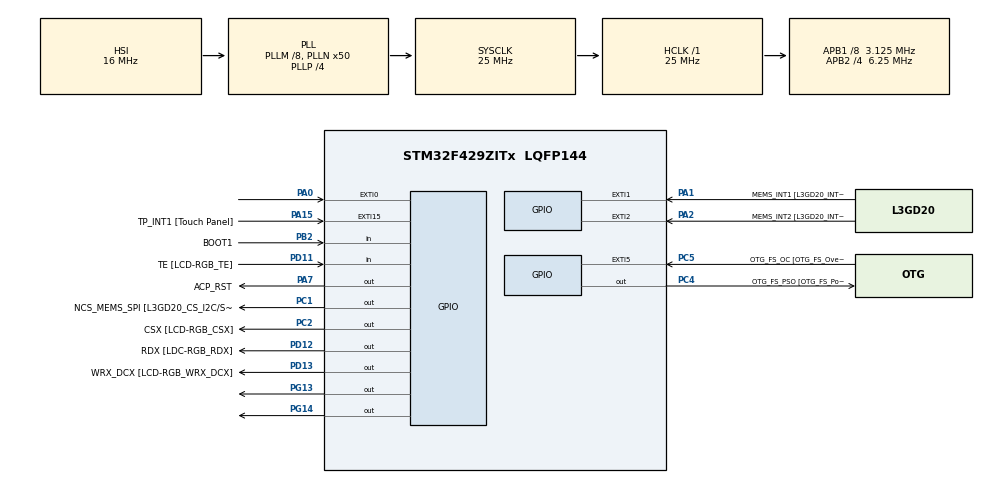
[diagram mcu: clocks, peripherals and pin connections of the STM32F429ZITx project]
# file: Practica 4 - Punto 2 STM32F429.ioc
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Mcu.Family=STM32F4
Mcu.Name=STM32F429ZITx
Mcu.Package=LQFP144
NVIC.PriorityGroup=NVIC_PRIORITYGROUP_0
PA0/WKUP.GPIO_ModeDefaultEXTI=GPIO_MODE_EVT_RISING
PA0/WKUP.GPIO_PuPd=GPIO_NOPULL
PA0/WKUP.Signal=GPXTI0
PA1.GPIO_Label=MEMS_INT1 [L3GD20_INT1]
PA1.GPIO_ModeDefaultEXTI=GPIO_MODE_EVT_RISING
PA1.GPIO_PuPd=GPIO_NOPULL
PA1.Signal=GPXTI1
PA10.GPIO_Label=STLINK_TX [STM32F103CBT6_PA2]
PA10.Signal=USART1_RX
PA11.GPIO_Label=R4
PA11.GPIO_Mode=GPIO_MODE_AF_PP
PA11.GPIO_PuPd=GPIO_NOPULL
PA11.GPIO_Speed=GPIO_SPEED_FREQ_LOW
PA11.Signal=LTDC_R4
PA12.GPIO_Label=R5
PA12.GPIO_Mode=GPIO_MODE_AF_PP
PA12.GPIO_PuPd=GPIO_NOPULL
PA12.GPIO_Speed=GPIO_SPEED_FREQ_LOW
PA12.Signal=LTDC_R5
PA13.GPIO_Label=SWDIO
PA13.Mode=Serial_Wire
PA13.Signal=SYS_JTMS-SWDIO
PA14.GPIO_Label=SWCLK
PA14.Mode=Serial_Wire
PA14.Signal=SYS_JTCK-SWCLK
PA15.GPIO_Label=TP_INT1 [Touch Panel]
PA15.GPIO_ModeDefaultEXTI=GPIO_MODE_EVT_RISING
PA15.GPIO_PuPd=GPIO_NOPULL
PA15.Signal=GPXTI15
PA2.GPIO_Label=MEMS_INT2 [L3GD20_INT2]
PA2.GPIO_ModeDefaultEXTI=GPIO_MODE_EVT_RISING
PA2.GPIO_PuPd=GPIO_NOPULL
PA2.Signal=GPXTI2
PA3.GPIO_Label=B5
PA3.GPIO_Mode=GPIO_MODE_AF_PP
PA3.GPIO_PuPd=GPIO_NOPULL
PA3.GPIO_Speed=GPIO_SPEED_FREQ_LOW
PA3.Signal=LTDC_B5
PA4.GPIO_Label=VSYNC
PA4.GPIO_Mode=GPIO_MODE_AF_PP
PA4.GPIO_PuPd=GPIO_NOPULL
PA4.GPIO_Speed=GPIO_SPEED_FREQ_LOW
PA4.Signal=LTDC_VSYNC
PA6.GPIO_Label=G2
PA6.GPIO_Mode=GPIO_MODE_AF_PP
PA6.GPIO_PuPd=GPIO_NOPULL
PA6.GPIO_Speed=GPIO_SPEED_FREQ_LOW
PA6.Signal=LTDC_G2
PA7.GPIO_Label=ACP_RST
PA7.GPIO_Mode=GPIO_MODE_OUTPUT_PP
PA7.GPIO_PuPd=GPIO_NOPULL
PA7.GPIO_Speed=GPIO_SPEED_FREQ_LOW
PA7.Signal=GPIO_Output
PA8.GPIO_Label=I2C3_SCL [ACP/RF_SCL]
PA8.GPIO_Mode=GPIO_MODE_AF_OD
PA8.GPIO_PuPd=GPIO_NOPULL
PA8.GPIO_Speed=GPIO_SPEED_FREQ_LOW
PA8.Signal=I2C3_SCL
PA9.GPIO_Label=STLINK_RX [STM32F103CBT6_PA3]
PA9.Signal=USART1_TX
PB0.GPIO_Label=R3
PB0.GPIO_Mode=GPIO_MODE_AF_PP
PB0.GPIO_PuPd=GPIO_NOPULL
PB0.GPIO_Speed=GPIO_SPEED_FREQ_LOW
PB0.Signal=LTDC_R3
PB1.GPIO_Label=R6
PB1.GPIO_Mode=GPIO_MODE_AF_PP
PB1.GPIO_PuPd=GPIO_NOPULL
PB1.GPIO_Speed=GPIO_SPEED_FREQ_LOW
PB1.Signal=LTDC_R6
PB10.GPIO_Label=G4
PB10.GPIO_Mode=GPIO_MODE_AF_PP
PB10.GPIO_PuPd=GPIO_NOPULL
PB10.GPIO_Speed=GPIO_SPEED_FREQ_LOW
PB10.Signal=LTDC_G4
PB11.GPIO_Label=G5
PB11.GPIO_Mode=GPIO_MODE_AF_PP
PB11.GPIO_PuPd=GPIO_NOPULL
PB11.GPIO_Speed=GPIO_SPEED_FREQ_LOW
PB11.Signal=LTDC_G5
PB12.GPIO_Label=OTG_HS_ID
PB12.GPIO_Mode=GPIO_MODE_AF_PP
PB12.GPIO_PuPd=GPIO_NOPULL
PB12.GPIO_Speed=GPIO_SPEED_FREQ_LOW
PB12.Signal=USB_OTG_HS_ID
PB13.GPIO_Label=VBUS_HS
PB13.GPIO_Mode=GPIO_MODE_INPUT
PB13.GPIO_PuPd=GPIO_NOPULL
PB13.Signal=USB_OTG_HS_VBUS
PB14.GPIO_Label=OTG_HS_DM
PB14.GPIO_Mode=GPIO_MODE_AF_PP
PB14.GPIO_PuPd=GPIO_NOPULL
PB14.GPIO_Speed=GPIO_SPEED_FREQ_LOW
PB14.Signal=USB_OTG_HS_DM
PB15.GPIO_Label=OTG_HS_DP
PB15.GPIO_Mode=GPIO_MODE_AF_PP
PB15.GPIO_PuPd=GPIO_NOPULL
PB15.GPIO_Speed=GPIO_SPEED_FREQ_LOW
PB15.Signal=USB_OTG_HS_DP
PB2/BOOT1.GPIO_Label=BOOT1
PB2/BOOT1.GPIO_Mode=GPIO_MODE_INPUT
PB2/BOOT1.GPIO_PuPd=GPIO_NOPULL
PB2/BOOT1.Signal=GPIO_Input
PB5.GPIO_Label=SDCKE1
PB5.GPIO_Mode=GPIO_MODE_AF_PP
PB5.GPIO_PuPd=GPIO_NOPULL
PB5.GPIO_Speed=GPIO_SPEED_FREQ_VERY_HIGH
PB5.Signal=FMC_SDCKE1
PB6.GPIO_Label=SDNE1 [SDRAM_CS]
PB6.GPIO_Mode=GPIO_MODE_AF_PP
PB6.GPIO_PuPd=GPIO_NOPULL
PB6.GPIO_Speed=GPIO_SPEED_FREQ_VERY_HIGH
PB6.Signal=FMC_SDNE1
PB8.GPIO_Label=B6
PB8.GPIO_Mode=GPIO_MODE_AF_PP
PB8.GPIO_PuPd=GPIO_NOPULL
PB8.GPIO_Speed=GPIO_SPEED_FREQ_LOW
PB8.Signal=LTDC_B6
PB9.GPIO_Label=B7
PB9.GPIO_Mode=GPIO_MODE_AF_PP
PB9.GPIO_PuPd=GPIO_NOPULL
PB9.GPIO_Speed=GPIO_SPEED_FREQ_LOW
PB9.Signal=LTDC_B7
PC0.GPIO_Label=SDNWE
PC0.GPIO_Mode=GPIO_MODE_AF_PP
PC0.GPIO_PuPd=GPIO_NOPULL
PC0.GPIO_Speed=GPIO_SPEED_FREQ_VERY_HIGH
PC0.Signal=FMC_SDNWE
PC1.GPIO_Label=NCS_MEMS_SPI [L3GD20_CS_I2C/SPI]
PC1.GPIO_Mode=GPIO_MODE_OUTPUT_PP
PC1.GPIO_PuPd=GPIO_NOPULL
PC1.GPIO_Speed=GPIO_SPEED_FREQ_LOW
PC1.Signal=GPIO_Output
PC10.GPIO_Label=R2
PC10.GPIO_Mode=GPIO_MODE_AF_PP
PC10.GPIO_PuPd=GPIO_NOPULL
PC10.GPIO_Speed=GPIO_SPEED_FREQ_LOW
PC10.Signal=LTDC_R2
PC14/OSC32_IN.GPIO_Label=PC14-OSC32_IN
PC14/OSC32_IN.Signal=RCC_OSC32_IN
PC15/OSC32_OUT.GPIO_Label=PC15-OSC32_OUT
PC15/OSC32_OUT.Signal=RCC_OSC32_OUT
PC2.GPIO_Label=CSX [LCD-RGB_CSX]
PC2.GPIO_Mode=GPIO_MODE_OUTPUT_PP
PC2.GPIO_PuPd=GPIO_NOPULL
PC2.GPIO_Speed=GPIO_SPEED_FREQ_LOW
PC2.Signal=GPIO_Output
PC4.GPIO_Label=OTG_FS_PSO [OTG_FS_PowerSwitchOn]
PC4.GPIO_Mode=GPIO_MODE_OUTPUT_PP
PC4.GPIO_PuPd=GPIO_NOPULL
PC4.GPIO_Speed=GPIO_SPEED_FREQ_LOW
PC4.Signal=GPIO_Output
PC5.GPIO_Label=OTG_FS_OC [OTG_FS_OverCurrent]
PC5.GPIO_ModeDefaultEXTI=GPIO_MODE_EVT_RISING
PC5.Signal=GPXTI5
PC6.GPIO_Label=HSYNC
PC6.GPIO_Mode=GPIO_MODE_AF_PP
PC6.GPIO_PuPd=GPIO_NOPULL
PC6.GPIO_Speed=GPIO_SPEED_FREQ_LOW
PC6.Signal=LTDC_HSYNC
PC7.GPIO_Label=G6
PC7.GPIO_Mode=GPIO_MODE_AF_PP
PC7.GPIO_PuPd=GPIO_NOPULL
PC7.GPIO_Speed=GPIO_SPEED_FREQ_LOW
PC7.Signal=LTDC_G6
PC9.GPIO_Label=I2C3_SDA [ACP/RF_SDA]
PC9.GPIO_Mode=GPIO_MODE_AF_OD
PC9.GPIO_PuPd=GPIO_NOPULL
PC9.GPIO_Speed=GPIO_SPEED_FREQ_LOW
PC9.Signal=I2C3_SDA
PD0.GPIO_Label=D2
PD0.GPIO_Mode=GPIO_MODE_AF_PP
PD0.GPIO_PuPd=GPIO_NOPULL
PD0.GPIO_Speed=GPIO_SPEED_FREQ_VERY_HIGH
PD0.Signal=FMC_D2_DA2
PD1.GPIO_Label=D3
PD1.GPIO_Mode=GPIO_MODE_AF_PP
PD1.GPIO_PuPd=GPIO_NOPULL
PD1.GPIO_Speed=GPIO_SPEED_FREQ_VERY_HIGH
PD1.Signal=FMC_D3_DA3
PD10.GPIO_Label=D15
PD10.GPIO_Mode=GPIO_MODE_AF_PP
PD10.GPIO_PuPd=GPIO_NOPULL
PD10.GPIO_Speed=GPIO_SPEED_FREQ_VERY_HIGH
PD10.Signal=FMC_D15_DA15
PD11.GPIO_Label=TE [LCD-RGB_TE]
PD11.GPIO_Mode=GPIO_MODE_INPUT
PD11.GPIO_PuPd=GPIO_NOPULL
PD11.Signal=GPIO_Input
PD12.GPIO_Label=RDX [LDC-RGB_RDX]
PD12.GPIO_Mode=GPIO_MODE_OUTPUT_PP
PD12.GPIO_PuPd=GPIO_NOPULL
PD12.GPIO_Speed=GPIO_SPEED_FREQ_LOW
PD12.Signal=GPIO_Output
PD13.GPIO_Label=WRX_DCX [LCD-RGB_WRX_DCX]
PD13.GPIO_Mode=GPIO_MODE_OUTPUT_PP
PD13.GPIO_PuPd=GPIO_NOPULL
PD13.GPIO_Speed=GPIO_SPEED_FREQ_LOW
PD13.Signal=GPIO_Output
PD14.GPIO_Label=D0
PD14.GPIO_Mode=GPIO_MODE_AF_PP
PD14.GPIO_PuPd=GPIO_NOPULL
PD14.GPIO_Speed=GPIO_SPEED_FREQ_VERY_HIGH
PD14.Signal=FMC_D0_DA0
PD15.GPIO_Label=D1
PD15.GPIO_Mode=GPIO_MODE_AF_PP
PD15.GPIO_PuPd=GPIO_NOPULL
PD15.GPIO_Speed=GPIO_SPEED_FREQ_VERY_HIGH
PD15.Signal=FMC_D1_DA1
PD3.GPIO_Label=G7
PD3.GPIO_Mode=GPIO_MODE_AF_PP
PD3.GPIO_PuPd=GPIO_NOPULL
PD3.GPIO_Speed=GPIO_SPEED_FREQ_LOW
PD3.Signal=LTDC_G7
PD6.GPIO_Label=B2
PD6.GPIO_Mode=GPIO_MODE_AF_PP
PD6.GPIO_PuPd=GPIO_NOPULL
PD6.GPIO_Speed=GPIO_SPEED_FREQ_LOW
PD6.Signal=LTDC_B2
PD8.GPIO_Label=D13
PD8.GPIO_Mode=GPIO_MODE_AF_PP
PD8.GPIO_PuPd=GPIO_NOPULL
PD8.GPIO_Speed=GPIO_SPEED_FREQ_VERY_HIGH
PD8.Signal=FMC_D13_DA13
PD9.GPIO_Label=D14
PD9.GPIO_Mode=GPIO_MODE_AF_PP
PD9.GPIO_PuPd=GPIO_NOPULL
PD9.GPIO_Speed=GPIO_SPEED_FREQ_VERY_HIGH
PD9.Signal=FMC_D14_DA14
PE0.GPIO_Label=NBL0 [SDRAM_LDQM]
PE0.GPIO_Mode=GPIO_MODE_AF_PP
PE0.GPIO_PuPd=GPIO_NOPULL
PE0.GPIO_Speed=GPIO_SPEED_FREQ_VERY_HIGH
PE0.Signal=FMC_NBL0
PE1.GPIO_Label=NBL1 [SDRAM_UDQM]
PE1.GPIO_Mode=GPIO_MODE_AF_PP
PE1.GPIO_PuPd=GPIO_NOPULL
PE1.GPIO_Speed=GPIO_SPEED_FREQ_VERY_HIGH
PE1.Signal=FMC_NBL1
PE10.GPIO_Label=D7
PE10.GPIO_Mode=GPIO_MODE_AF_PP
PE10.GPIO_PuPd=GPIO_NOPULL
PE10.GPIO_Speed=GPIO_SPEED_FREQ_VERY_HIGH
PE10.Signal=FMC_D7_DA7
PE11.GPIO_Label=D8
PE11.GPIO_Mode=GPIO_MODE_AF_PP
PE11.GPIO_PuPd=GPIO_NOPULL
PE11.GPIO_Speed=GPIO_SPEED_FREQ_VERY_HIGH
PE11.Signal=FMC_D8_DA8
PE12.GPIO_Label=D9
PE12.GPIO_Mode=GPIO_MODE_AF_PP
PE12.GPIO_PuPd=GPIO_NOPULL
PE12.GPIO_Speed=GPIO_SPEED_FREQ_VERY_HIGH
PE12.Signal=FMC_D9_DA9
PE13.GPIO_Label=D10
PE13.GPIO_Mode=GPIO_MODE_AF_PP
PE13.GPIO_PuPd=GPIO_NOPULL
PE13.GPIO_Speed=GPIO_SPEED_FREQ_VERY_HIGH
PE13.Signal=FMC_D10_DA10
PE14.GPIO_Label=D11
PE14.GPIO_Mode=GPIO_MODE_AF_PP
PE14.GPIO_PuPd=GPIO_NOPULL
PE14.GPIO_Speed=GPIO_SPEED_FREQ_VERY_HIGH
PE14.Signal=FMC_D11_DA11
PE15.GPIO_Label=D12
PE15.GPIO_Mode=GPIO_MODE_AF_PP
PE15.GPIO_PuPd=GPIO_NOPULL
PE15.GPIO_Speed=GPIO_SPEED_FREQ_VERY_HIGH
PE15.Signal=FMC_D12_DA12
PE7.GPIO_Label=D4
PE7.GPIO_Mode=GPIO_MODE_AF_PP
PE7.GPIO_PuPd=GPIO_NOPULL
PE7.GPIO_Speed=GPIO_SPEED_FREQ_VERY_HIGH
PE7.Signal=FMC_D4_DA4
PE8.GPIO_Label=D5
PE8.GPIO_Mode=GPIO_MODE_AF_PP
PE8.GPIO_PuPd=GPIO_NOPULL
PE8.GPIO_Speed=GPIO_SPEED_FREQ_VERY_HIGH
PE8.Signal=FMC_D5_DA5
PE9.GPIO_Label=D6
PE9.GPIO_Mode=GPIO_MODE_AF_PP
PE9.GPIO_PuPd=GPIO_NOPULL
PE9.GPIO_Speed=GPIO_SPEED_FREQ_VERY_HIGH
PE9.Signal=FMC_D6_DA6
PF0.GPIO_Label=A0
PF0.GPIO_Mode=GPIO_MODE_AF_PP
PF0.GPIO_PuPd=GPIO_NOPULL
PF0.GPIO_Speed=GPIO_SPEED_FREQ_VERY_HIGH
PF0.Signal=FMC_A0
PF1.GPIO_Label=A1
PF1.GPIO_Mode=GPIO_MODE_AF_PP
PF1.GPIO_PuPd=GPIO_NOPULL
PF1.GPIO_Speed=GPIO_SPEED_FREQ_VERY_HIGH
PF1.Signal=FMC_A1
PF10.GPIO_Label=ENABLE [LCD-RGB_ENABLE]
PF10.GPIO_Mode=GPIO_MODE_AF_PP
PF10.GPIO_PuPd=GPIO_NOPULL
PF10.GPIO_Speed=GPIO_SPEED_FREQ_LOW
PF10.Signal=LTDC_DE
PF11.GPIO_Label=SDNRAS
PF11.GPIO_Mode=GPIO_MODE_AF_PP
PF11.GPIO_PuPd=GPIO_NOPULL
PF11.GPIO_Speed=GPIO_SPEED_FREQ_VERY_HIGH
PF11.Signal=FMC_SDNRAS
PF12.GPIO_Label=A6
PF12.GPIO_Mode=GPIO_MODE_AF_PP
PF12.GPIO_PuPd=GPIO_NOPULL
PF12.GPIO_Speed=GPIO_SPEED_FREQ_VERY_HIGH
PF12.Signal=FMC_A6
PF13.GPIO_Label=A7
PF13.GPIO_Mode=GPIO_MODE_AF_PP
PF13.GPIO_PuPd=GPIO_NOPULL
PF13.GPIO_Speed=GPIO_SPEED_FREQ_VERY_HIGH
PF13.Signal=FMC_A7
PF14.GPIO_Label=A8
PF14.GPIO_Mode=GPIO_MODE_AF_PP
PF14.GPIO_PuPd=GPIO_NOPULL
PF14.GPIO_Speed=GPIO_SPEED_FREQ_VERY_HIGH
PF14.Signal=FMC_A8
PF15.GPIO_Label=A9
PF15.GPIO_Mode=GPIO_MODE_AF_PP
PF15.GPIO_PuPd=GPIO_NOPULL
PF15.GPIO_Speed=GPIO_SPEED_FREQ_VERY_HIGH
PF15.Signal=FMC_A9
PF2.GPIO_Label=A2
PF2.GPIO_Mode=GPIO_MODE_AF_PP
PF2.GPIO_PuPd=GPIO_NOPULL
PF2.GPIO_Speed=GPIO_SPEED_FREQ_VERY_HIGH
PF2.Signal=FMC_A2
PF3.GPIO_Label=A3
PF3.GPIO_Mode=GPIO_MODE_AF_PP
PF3.GPIO_PuPd=GPIO_NOPULL
PF3.GPIO_Speed=GPIO_SPEED_FREQ_VERY_HIGH
PF3.Signal=FMC_A3
PF4.GPIO_Label=A4
PF4.GPIO_Mode=GPIO_MODE_AF_PP
PF4.GPIO_PuPd=GPIO_NOPULL
PF4.GPIO_Speed=GPIO_SPEED_FREQ_VERY_HIGH
PF4.Signal=FMC_A4
PF5.GPIO_Label=A5
PF5.GPIO_Mode=GPIO_MODE_AF_PP
PF5.GPIO_PuPd=GPIO_NOPULL
PF5.GPIO_Speed=GPIO_SPEED_FREQ_VERY_HIGH
PF5.Signal=FMC_A5
PF7.GPIO_Label=SPI5_SCK [L3GD20_SCL/SPC]
PF7.GPIO_Mode=GPIO_MODE_AF_PP
PF7.GPIO_PuPd=GPIO_NOPULL
PF7.GPIO_Speed=GPIO_SPEED_FREQ_LOW
PF7.Signal=SPI5_SCK
PF8.GPIO_Label=SPI5_MISO [L3GD20_SDO]
PF8.GPIO_Mode=GPIO_MODE_AF_PP
PF8.GPIO_PuPd=GPIO_NOPULL
PF8.GPIO_Speed=GPIO_SPEED_FREQ_LOW
PF8.Signal=SPI5_MISO
PF9.GPIO_Label=SPI5_MOSI [L3GD20_SDA/SDI/SDO]
PF9.GPIO_Mode=GPIO_MODE_AF_PP
PF9.GPIO_PuPd=GPIO_NOPULL
PF9.GPIO_Speed=GPIO_SPEED_FREQ_LOW
PF9.Signal=SPI5_MOSI
PG0.GPIO_Label=A10
PG0.GPIO_Mode=GPIO_MODE_AF_PP
PG0.GPIO_PuPd=GPIO_NOPULL
PG0.GPIO_Speed=GPIO_SPEED_FREQ_VERY_HIGH
PG0.Signal=FMC_A10
PG1.GPIO_Label=A11
PG1.GPIO_Mode=GPIO_MODE_AF_PP
PG1.GPIO_PuPd=GPIO_NOPULL
PG1.GPIO_Speed=GPIO_SPEED_FREQ_VERY_HIGH
PG1.Signal=FMC_A11
PG10.GPIO_Label=G3
PG10.GPIO_Mode=GPIO_MODE_AF_PP
PG10.GPIO_PuPd=GPIO_NOPULL
PG10.GPIO_Speed=GPIO_SPEED_FREQ_LOW
PG10.Signal=LTDC_G3
PG11.GPIO_Label=B3
PG11.GPIO_Mode=GPIO_MODE_AF_PP
PG11.GPIO_PuPd=GPIO_NOPULL
PG11.GPIO_Speed=GPIO_SPEED_FREQ_LOW
PG11.Signal=LTDC_B3
PG12.GPIO_Label=B4
PG12.GPIO_Mode=GPIO_MODE_AF_PP
PG12.GPIO_PuPd=GPIO_NOPULL
PG12.GPIO_Speed=GPIO_SPEED_FREQ_LOW
PG12.Signal=LTDC_B4
PG13.Signal=GPIO_Output
PG14.Signal=GPIO_Output
PG15.GPIO_Label=SDNCAS
PG15.GPIO_Mode=GPIO_MODE_AF_PP
PG15.GPIO_PuPd=GPIO_NOPULL
PG15.GPIO_Speed=GPIO_SPEED_FREQ_VERY_HIGH
PG15.Signal=FMC_SDNCAS
PG4.GPIO_Label=BA0
PG4.GPIO_Mode=GPIO_MODE_AF_PP
PG4.GPIO_PuPd=GPIO_NOPULL
PG4.GPIO_Speed=GPIO_SPEED_FREQ_VERY_HIGH
PG4.Signal=FMC_A14_BA0
PG5.GPIO_Label=BA1
PG5.GPIO_Mode=GPIO_MODE_AF_PP
PG5.GPIO_PuPd=GPIO_NOPULL
PG5.GPIO_Speed=GPIO_SPEED_FREQ_VERY_HIGH
PG5.Signal=FMC_A15_BA1
PG6.GPIO_Label=R7
PG6.GPIO_Mode=GPIO_MODE_AF_PP
PG6.GPIO_PuPd=GPIO_NOPULL
PG6.GPIO_Speed=GPIO_SPEED_FREQ_LOW
PG6.Signal=LTDC_R7
PG7.GPIO_Label=DOTCLK [LCT-RGB_DOTCLK]
PG7.GPIO_Mode=GPIO_MODE_AF_PP
PG7.GPIO_PuPd=GPIO_NOPULL
PG7.GPIO_Speed=GPIO_SPEED_FREQ_LOW
PG7.Signal=LTDC_CLK
PG8.GPIO_Label=SDCLK
PG8.GPIO_Mode=GPIO_MODE_AF_PP
PG8.GPIO_PuPd=GPIO_NOPULL
PG8.GPIO_Speed=GPIO_SPEED_FREQ_VERY_HIGH
PG8.Signal=FMC_SDCLK
PH0/OSC_IN.GPIO_Label=PH0-OSC_IN
PH0/OSC_IN.Signal=RCC_OSC_IN
PH1/OSC_OUT.GPIO_Label=PH1-OSC_OUT
PH1/OSC_OUT.Signal=RCC_OSC_OUT
ProjectManager.HeapSize=0x200
ProjectManager.StackSize=0x400
ProjectManager.TargetToolchain=STM32CubeIDE
RCC.48MHZClocksFreq_Value=14285714.285714285
RCC.AHBFreq_Value=25000000
RCC.APB1CLKDivider=RCC_HCLK_DIV8
RCC.APB1Freq_Value=3125000
RCC.APB1TimFreq_Value=6250000
RCC.APB2CLKDivider=RCC_HCLK_DIV4
RCC.APB2Freq_Value=6250000
RCC.APB2TimFreq_Value=12500000
RCC.CortexFreq_Value=25000000
RCC.HCLKFreq_Value=25000000
RCC.HSE_VALUE=8000000
RCC.HSI_VALUE=16000000
RCC.LSE_VALUE=32768
RCC.PLLM=8
RCC.PLLN=50
RCC.PLLP=RCC_PLLP_DIV4
RCC.PLLQ=7
RCC.SYSCLKFreq_VALUE=25000000
RCC.SYSCLKSource=RCC_SYSCLKSOURCE_PLLCLK
RCC.VCOOutputFreq_Value=100000000
SH.FMC_A0.0=FMC_A0
SH.FMC_A1.0=FMC_A1
SH.FMC_A10.0=FMC_A10
SH.FMC_A11.0=FMC_A11
SH.FMC_A14_BA0.0=FMC_BA0
SH.FMC_A15_BA1.0=FMC_BA1
SH.FMC_A2.0=FMC_A2
SH.FMC_A3.0=FMC_A3
SH.FMC_A4.0=FMC_A4
SH.FMC_A5.0=FMC_A5
SH.FMC_A6.0=FMC_A6
SH.FMC_A7.0=FMC_A7
SH.FMC_A8.0=FMC_A8
SH.FMC_A9.0=FMC_A9
SH.FMC_D0_DA0.0=FMC_D0
SH.FMC_D10_DA10.0=FMC_D10
SH.FMC_D11_DA11.0=FMC_D11
SH.FMC_D12_DA12.0=FMC_D12
SH.FMC_D13_DA13.0=FMC_D13
SH.FMC_D14_DA14.0=FMC_D14
SH.FMC_D15_DA15.0=FMC_D15
SH.FMC_D1_DA1.0=FMC_D1
SH.FMC_D2_DA2.0=FMC_D2
SH.FMC_D3_DA3.0=FMC_D3
SH.FMC_D4_DA4.0=FMC_D4
SH.FMC_D5_DA5.0=FMC_D5
SH.FMC_D6_DA6.0=FMC_D6
SH.FMC_D7_DA7.0=FMC_D7
SH.FMC_D8_DA8.0=FMC_D8
SH.FMC_D9_DA9.0=FMC_D9
SH.FMC_NBL0.0=FMC_NBL0
SH.FMC_NBL1.0=FMC_NBL1
SH.FMC_SDCLK.0=FMC_SDCLK
SH.FMC_SDNCAS.0=FMC_SDNCAS
SH.FMC_SDNRAS.0=FMC_SDNRAS
SH.FMC_SDNWE.0=FMC_SDNWE
board=STM32F429I-DISC1

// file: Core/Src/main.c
/* USER CODE BEGIN Header */
/**
  ******************************************************************************
  * @file           : main.c
  * @brief          : Main program body
  ******************************************************************************
  * @attention
  *
  * Copyright (c) 2023 STMicroelectronics.
  * All rights reserved.
  *
  * This software is licensed under terms that can be found in the LICENSE file
  * in the root directory of this software component.
  * If no LICENSE file comes with this software, it is provided AS-IS.
  *
  ******************************************************************************
  */
/* USER CODE END Header */
#include "main.h"

/* USER CODE BEGIN Includes */
#include "API_delay.h"            //uncluimos la libreria de delay no bloqueante
#include "API_debounce.h"         //incluidmos la libreria de antirebote por soft
/* USER CODE END Includes */

/* USER CODE BEGIN PV */
delay_t delay1;                    //estructura de delay para los parpadeos
tick_t blink[] = {100, 500};       //arreglon con tiempos de parpadeo
uint8_t pos = 0;                   //posicion en el vector con los timepos de parpadeo
/* USER CODE END PV */

void SystemClock_Config(void);
static void MX_GPIO_Init(void);
/* USER CODE BEGIN PFP */

void blinkLed(void){                       // funcion de parpadeo
	if(delayRead(&delay1)==1){
		HAL_GPIO_TogglePin(GPIOG, GPIO_PIN_13);
		delayInit(&delay1, blink[pos]);

	}

}

/* USER CODE END PFP */

int main(void)
{

  /* MCU Configuration--------------------------------------------------------*/

  /* Reset of all peripherals, Initializes the Flash interface and the Systick. */
  HAL_Init();

  /* Configure the system clock */
  SystemClock_Config();

  /* Initialize all configured peripherals */
  MX_GPIO_Init();
  /* USER CODE BEGIN 2 */
  delayInit(&delay1, blink[0]);            //Inicializacion del parpadeo
  debounceFSM_init();                      //Inicialiacion de la FSM antirrebote
  /* USER CODE END 2 */

  /* Infinite loop */
  /* USER CODE BEGIN WHILE */
  while (1)
  {
	  debounceFSM_update();             //Chequeo el estado
	  blinkLed();                       //funcion de parpadeo

	  if(readKey() == 1){               // chequeo de boton pulsado y cambio de parpadeo
		  if(pos == 0){
			  delayWrite(&delay1, blink[1]);
			  pos = 1;
		  }else{
			  delayWrite(&delay1, blink[0]);
			  pos = 0;
		  }
	  }
    /* USER CODE END WHILE */

  }
}

void SystemClock_Config(void)
{
  RCC_OscInitTypeDef RCC_OscInitStruct = {0};
  RCC_ClkInitTypeDef RCC_ClkInitStruct = {0};

  /** Configure the main internal regulator output voltage
  */
  __HAL_RCC_PWR_CLK_ENABLE();
  __HAL_PWR_VOLTAGESCALING_CONFIG(PWR_REGULATOR_VOLTAGE_SCALE3);

  /** Initializes the RCC Oscillators according to the specified parameters
  * in the RCC_OscInitTypeDef structure.
  */
  RCC_OscInitStruct.OscillatorType = RCC_OSCILLATORTYPE_HSI;
  RCC_OscInitStruct.HSIState = RCC_HSI_ON;
  RCC_OscInitStruct.HSICalibrationValue = RCC_HSICALIBRATION_DEFAULT;
  RCC_OscInitStruct.PLL.PLLState = RCC_PLL_ON;
  RCC_OscInitStruct.PLL.PLLSource = RCC_PLLSOURCE_HSI;
  RCC_OscInitStruct.PLL.PLLM = 8;
  RCC_OscInitStruct.PLL.PLLN = 50;
  RCC_OscInitStruct.PLL.PLLP = RCC_PLLP_DIV4;
  RCC_OscInitStruct.PLL.PLLQ = 7;
  if (HAL_RCC_OscConfig(&RCC_OscInitStruct) != HAL_OK)
  {
    Error_Handler();
  }

  /** Initializes the CPU, AHB and APB buses clocks
  */
  RCC_ClkInitStruct.ClockType = RCC_CLOCKTYPE_HCLK|RCC_CLOCKTYPE_SYSCLK
                              |RCC_CLOCKTYPE_PCLK1|RCC_CLOCKTYPE_PCLK2;
  RCC_ClkInitStruct.SYSCLKSource = RCC_SYSCLKSOURCE_PLLCLK;
  RCC_ClkInitStruct.AHBCLKDivider = RCC_SYSCLK_DIV1;
  RCC_ClkInitStruct.APB1CLKDivider = RCC_HCLK_DIV8;
  RCC_ClkInitStruct.APB2CLKDivider = RCC_HCLK_DIV4;

  if (HAL_RCC_ClockConfig(&RCC_ClkInitStruct, FLASH_LATENCY_0) != HAL_OK)
  {
    Error_Handler();
  }
}

static void MX_GPIO_Init(void)
{
  GPIO_InitTypeDef GPIO_InitStruct = {0};

  /* GPIO Ports Clock Enable */
  __HAL_RCC_GPIOC_CLK_ENABLE();
  __HAL_RCC_GPIOF_CLK_ENABLE();
  __HAL_RCC_GPIOH_CLK_ENABLE();
  __HAL_RCC_GPIOA_CLK_ENABLE();
  __HAL_RCC_GPIOB_CLK_ENABLE();
  __HAL_RCC_GPIOG_CLK_ENABLE();
  __HAL_RCC_GPIOE_CLK_ENABLE();
  __HAL_RCC_GPIOD_CLK_ENABLE();

  /*Configure GPIO pin Output Level */
  HAL_GPIO_WritePin(GPIOC, NCS_MEMS_SPI_Pin|CSX_Pin|OTG_FS_PSO_Pin, GPIO_PIN_RESET);

  /*Configure GPIO pin Output Level */
  HAL_GPIO_WritePin(ACP_RST_GPIO_Port, ACP_RST_Pin, GPIO_PIN_RESET);

  /*Configure GPIO pin Output Level */
  HAL_GPIO_WritePin(GPIOD, RDX_Pin|WRX_DCX_Pin, GPIO_PIN_RESET);

  /*Configure GPIO pin Output Level */
  HAL_GPIO_WritePin(GPIOG, GPIO_PIN_13|GPIO_PIN_14, GPIO_PIN_RESET);

  /*Configure GPIO pins : A0_Pin A1_Pin A2_Pin A3_Pin
                           A4_Pin A5_Pin SDNRAS_Pin A6_Pin
                           A7_Pin A8_Pin A9_Pin */
  GPIO_InitStruct.Pin = A0_Pin|A1_Pin|A2_Pin|A3_Pin
                          |A4_Pin|A5_Pin|SDNRAS_Pin|A6_Pin
                          |A7_Pin|A8_Pin|A9_Pin;
  GPIO_InitStruct.Mode = GPIO_MODE_AF_PP;
  GPIO_InitStruct.Pull = GPIO_NOPULL;
  GPIO_InitStruct.Speed = GPIO_SPEED_FREQ_VERY_HIGH;
  GPIO_InitStruct.Alternate = GPIO_AF12_FMC;
  HAL_GPIO_Init(GPIOF, &GPIO_InitStruct);

  /*Configure GPIO pins : SPI5_SCK_Pin SPI5_MISO_Pin SPI5_MOSI_Pin */
  GPIO_InitStruct.Pin = SPI5_SCK_Pin|SPI5_MISO_Pin|SPI5_MOSI_Pin;
  GPIO_InitStruct.Mode = GPIO_MODE_AF_PP;
  GPIO_InitStruct.Pull = GPIO_NOPULL;
  GPIO_InitStruct.Speed = GPIO_SPEED_FREQ_LOW;
  GPIO_InitStruct.Alternate = GPIO_AF5_SPI5;
  HAL_GPIO_Init(GPIOF, &GPIO_InitStruct);

  /*Configure GPIO pin : ENABLE_Pin */
  GPIO_InitStruct.Pin = ENABLE_Pin;
  GPIO_InitStruct.Mode = GPIO_MODE_AF_PP;
  GPIO_InitStruct.Pull = GPIO_NOPULL;
  GPIO_InitStruct.Speed = GPIO_SPEED_FREQ_LOW;
  GPIO_InitStruct.Alternate = GPIO_AF14_LTDC;
  HAL_GPIO_Init(ENABLE_GPIO_Port, &GPIO_InitStruct);

  /*Configure GPIO pin : SDNWE_Pin */
  GPIO_InitStruct.Pin = SDNWE_Pin;
  GPIO_InitStruct.Mode = GPIO_MODE_AF_PP;
  GPIO_InitStruct.Pull = GPIO_NOPULL;
  GPIO_InitStruct.Speed = GPIO_SPEED_FREQ_VERY_HIGH;
  GPIO_InitStruct.Alternate = GPIO_AF12_FMC;
  HAL_GPIO_Init(SDNWE_GPIO_Port, &GPIO_InitStruct);

  /*Configure GPIO pins : NCS_MEMS_SPI_Pin CSX_Pin OTG_FS_PSO_Pin */
  GPIO_InitStruct.Pin = NCS_MEMS_SPI_Pin|CSX_Pin|OTG_FS_PSO_Pin;
  GPIO_InitStruct.Mode = GPIO_MODE_OUTPUT_PP;
  GPIO_InitStruct.Pull = GPIO_NOPULL;
  GPIO_InitStruct.Speed = GPIO_SPEED_FREQ_LOW;
  HAL_GPIO_Init(GPIOC, &GPIO_InitStruct);

  /*Configure GPIO pins : PA0 MEMS_INT1_Pin MEMS_INT2_Pin TP_INT1_Pin */
  GPIO_InitStruct.Pin = GPIO_PIN_0|MEMS_INT1_Pin|MEMS_INT2_Pin|TP_INT1_Pin;
  GPIO_InitStruct.Mode = GPIO_MODE_EVT_RISING;
  GPIO_InitStruct.Pull = GPIO_NOPULL;
  HAL_GPIO_Init(GPIOA, &GPIO_InitStruct);

  /*Configure GPIO pins : B5_Pin VSYNC_Pin G2_Pin R4_Pin
                           R5_Pin */
  GPIO_InitStruct.Pin = B5_Pin|VSYNC_Pin|G2_Pin|R4_Pin
                          |R5_Pin;
  GPIO_InitStruct.Mode = GPIO_MODE_AF_PP;
  GPIO_InitStruct.Pull = GPIO_NOPULL;
  GPIO_InitStruct.Speed = GPIO_SPEED_FREQ_LOW;
  GPIO_InitStruct.Alternate = GPIO_AF14_LTDC;
  HAL_GPIO_Init(GPIOA, &GPIO_InitStruct);

  /*Configure GPIO pin : ACP_RST_Pin */
  GPIO_InitStruct.Pin = ACP_RST_Pin;
  GPIO_InitStruct.Mode = GPIO_MODE_OUTPUT_PP;
  GPIO_InitStruct.Pull = GPIO_NOPULL;
  GPIO_InitStruct.Speed = GPIO_SPEED_FREQ_LOW;
  HAL_GPIO_Init(ACP_RST_GPIO_Port, &GPIO_InitStruct);

  /*Configure GPIO pin : OTG_FS_OC_Pin */
  GPIO_InitStruct.Pin = OTG_FS_OC_Pin;
  GPIO_InitStruct.Mode = GPIO_MODE_EVT_RISING;
  GPIO_InitStruct.Pull = GPIO_NOPULL;
  HAL_GPIO_Init(OTG_FS_OC_GPIO_Port, &GPIO_InitStruct);

  /*Configure GPIO pins : R3_Pin R6_Pin */
  GPIO_InitStruct.Pin = R3_Pin|R6_Pin;
  GPIO_InitStruct.Mode = GPIO_MODE_AF_PP;
  GPIO_InitStruct.Pull = GPIO_NOPULL;
  GPIO_InitStruct.Speed = GPIO_SPEED_FREQ_LOW;
  GPIO_InitStruct.Alternate = GPIO_AF9_LTDC;
  HAL_GPIO_Init(GPIOB, &GPIO_InitStruct);

  /*Configure GPIO pin : BOOT1_Pin */
  GPIO_InitStruct.Pin = BOOT1_Pin;
  GPIO_InitStruct.Mode = GPIO_MODE_INPUT;
  GPIO_InitStruct.Pull = GPIO_NOPULL;
  HAL_GPIO_Init(BOOT1_GPIO_Port, &GPIO_InitStruct);

  /*Configure GPIO pins : A10_Pin A11_Pin BA0_Pin BA1_Pin
                           SDCLK_Pin SDNCAS_Pin */
  GPIO_InitStruct.Pin = A10_Pin|A11_Pin|BA0_Pin|BA1_Pin
                          |SDCLK_Pin|SDNCAS_Pin;
  GPIO_InitStruct.Mode = GPIO_MODE_AF_PP;
  GPIO_InitStruct.Pull = GPIO_NOPULL;
  GPIO_InitStruct.Speed = GPIO_SPEED_FREQ_VERY_HIGH;
  GPIO_InitStruct.Alternate = GPIO_AF12_FMC;
  HAL_GPIO_Init(GPIOG, &GPIO_InitStruct);

  /*Configure GPIO pins : D4_Pin D5_Pin D6_Pin D7_Pin
                           D8_Pin D9_Pin D10_Pin D11_Pin
                           D12_Pin NBL0_Pin NBL1_Pin */
  GPIO_InitStruct.Pin = D4_Pin|D5_Pin|D6_Pin|D7_Pin
                          |D8_Pin|D9_Pin|D10_Pin|D11_Pin
                          |D12_Pin|NBL0_Pin|NBL1_Pin;
  GPIO_InitStruct.Mode = GPIO_MODE_AF_PP;
  GPIO_InitStruct.Pull = GPIO_NOPULL;
  GPIO_InitStruct.Speed = GPIO_SPEED_FREQ_VERY_HIGH;
  GPIO_InitStruct.Alternate = GPIO_AF12_FMC;
  HAL_GPIO_Init(GPIOE, &GPIO_InitStruct);

  /*Configure GPIO pins : G4_Pin G5_Pin B6_Pin B7_Pin */
  GPIO_InitStruct.Pin = G4_Pin|G5_Pin|B6_Pin|B7_Pin;
  GPIO_InitStruct.Mode = GPIO_MODE_AF_PP;
  GPIO_InitStruct.Pull = GPIO_NOPULL;
  GPIO_InitStruct.Speed = GPIO_SPEED_FREQ_LOW;
  GPIO_InitStruct.Alternate = GPIO_AF14_LTDC;
  HAL_GPIO_Init(GPIOB, &GPIO_InitStruct);

  /*Configure GPIO pins : OTG_HS_ID_Pin OTG_HS_DM_Pin OTG_HS_DP_Pin */
  GPIO_InitStruct.Pin = OTG_HS_ID_Pin|OTG_HS_DM_Pin|OTG_HS_DP_Pin;
  GPIO_InitStruct.Mode = GPIO_MODE_AF_PP;
  GPIO_InitStruct.Pull = GPIO_NOPULL;
  GPIO_InitStruct.Speed = GPIO_SPEED_FREQ_LOW;
  GPIO_InitStruct.Alternate = GPIO_AF12_OTG_HS_FS;
  HAL_GPIO_Init(GPIOB, &GPIO_InitStruct);

  /*Configure GPIO pin : VBUS_HS_Pin */
  GPIO_InitStruct.Pin = VBUS_HS_Pin;
  GPIO_InitStruct.Mode = GPIO_MODE_INPUT;
  GPIO_InitStruct.Pull = GPIO_NOPULL;
  HAL_GPIO_Init(VBUS_HS_GPIO_Port, &GPIO_InitStruct);

  /*Configure GPIO pins : D13_Pin D14_Pin D15_Pin D0_Pin
                           D1_Pin D2_Pin D3_Pin */
  GPIO_InitStruct.Pin = D13_Pin|D14_Pin|D15_Pin|D0_Pin
                          |D1_Pin|D2_Pin|D3_Pin;
  GPIO_InitStruct.Mode = GPIO_MODE_AF_PP;
  GPIO_InitStruct.Pull = GPIO_NOPULL;
  GPIO_InitStruct.Speed = GPIO_SPEED_FREQ_VERY_HIGH;
  GPIO_InitStruct.Alternate = GPIO_AF12_FMC;
  HAL_GPIO_Init(GPIOD, &GPIO_InitStruct);

  /*Configure GPIO pin : TE_Pin */
  GPIO_InitStruct.Pin = TE_Pin;
  GPIO_InitStruct.Mode = GPIO_MODE_INPUT;
  GPIO_InitStruct.Pull = GPIO_NOPULL;
  HAL_GPIO_Init(TE_GPIO_Port, &GPIO_InitStruct);

  /*Configure GPIO pins : RDX_Pin WRX_DCX_Pin */
  GPIO_InitStruct.Pin = RDX_Pin|WRX_DCX_Pin;
  GPIO_InitStruct.Mode = GPIO_MODE_OUTPUT_PP;
  GPIO_InitStruct.Pull = GPIO_NOPULL;
  GPIO_InitStruct.Speed = GPIO_SPEED_FREQ_LOW;
  HAL_GPIO_Init(GPIOD, &GPIO_InitStruct);

  /*Configure GPIO pins : R7_Pin DOTCLK_Pin B3_Pin */
  GPIO_InitStruct.Pin = R7_Pin|DOTCLK_Pin|B3_Pin;
  GPIO_InitStruct.Mode = GPIO_MODE_AF_PP;
  GPIO_InitStruct.Pull = GPIO_NOPULL;
  GPIO_InitStruct.Speed = GPIO_SPEED_FREQ_LOW;
  GPIO_InitStruct.Alternate = GPIO_AF14_LTDC;
  HAL_GPIO_Init(GPIOG, &GPIO_InitStruct);

  /*Configure GPIO pins : HSYNC_Pin G6_Pin R2_Pin */
  GPIO_InitStruct.Pin = HSYNC_Pin|G6_Pin|R2_Pin;
  GPIO_InitStruct.Mode = GPIO_MODE_AF_PP;
  GPIO_InitStruct.Pull = GPIO_NOPULL;
  GPIO_InitStruct.Speed = GPIO_SPEED_FREQ_LOW;
  GPIO_InitStruct.Alternate = GPIO_AF14_LTDC;
  HAL_GPIO_Init(GPIOC, &GPIO_InitStruct);

  /*Configure GPIO pin : I2C3_SDA_Pin */
  GPIO_InitStruct.Pin = I2C3_SDA_Pin;
  GPIO_InitStruct.Mode = GPIO_MODE_AF_OD;
  GPIO_InitStruct.Pull = GPIO_NOPULL;
  GPIO_InitStruct.Speed = GPIO_SPEED_FREQ_LOW;
  GPIO_InitStruct.Alternate = GPIO_AF4_I2C3;
  HAL_GPIO_Init(I2C3_SDA_GPIO_Port, &GPIO_InitStruct);

  /*Configure GPIO pin : I2C3_SCL_Pin */
  GPIO_InitStruct.Pin = I2C3_SCL_Pin;
  GPIO_InitStruct.Mode = GPIO_MODE_AF_OD;
  GPIO_InitStruct.Pull = GPIO_NOPULL;
  GPIO_InitStruct.Speed = GPIO_SPEED_FREQ_LOW;
  GPIO_InitStruct.Alternate = GPIO_AF4_I2C3;
  HAL_GPIO_Init(I2C3_SCL_GPIO_Port, &GPIO_InitStruct);

  /*Configure GPIO pins : STLINK_RX_Pin STLINK_TX_Pin */
  GPIO_InitStruct.Pin = STLINK_RX_Pin|STLINK_TX_Pin;
  GPIO_InitStruct.Mode = GPIO_MODE_AF_PP;
  GPIO_InitStruct.Pull = GPIO_NOPULL;
  GPIO_InitStruct.Speed = GPIO_SPEED_FREQ_VERY_HIGH;
  GPIO_InitStruct.Alternate = GPIO_AF7_USART1;
  HAL_GPIO_Init(GPIOA, &GPIO_InitStruct);

  /*Configure GPIO pins : G7_Pin B2_Pin */
  GPIO_InitStruct.Pin = G7_Pin|B2_Pin;
  GPIO_InitStruct.Mode = GPIO_MODE_AF_PP;
  GPIO_InitStruct.Pull = GPIO_NOPULL;
  GPIO_InitStruct.Speed = GPIO_SPEED_FREQ_LOW;
  GPIO_InitStruct.Alternate = GPIO_AF14_LTDC;
  HAL_GPIO_Init(GPIOD, &GPIO_InitStruct);

  /*Configure GPIO pins : G3_Pin B4_Pin */
  GPIO_InitStruct.Pin = G3_Pin|B4_Pin;
  GPIO_InitStruct.Mode = GPIO_MODE_AF_PP;
  GPIO_InitStruct.Pull = GPIO_NOPULL;
  GPIO_InitStruct.Speed = GPIO_SPEED_FREQ_LOW;
  GPIO_InitStruct.Alternate = GPIO_AF9_LTDC;
  HAL_GPIO_Init(GPIOG, &GPIO_InitStruct);

  /*Configure GPIO pins : PG13 PG14 */
  GPIO_InitStruct.Pin = GPIO_PIN_13|GPIO_PIN_14;
  GPIO_InitStruct.Mode = GPIO_MODE_OUTPUT_PP;
  GPIO_InitStruct.Pull = GPIO_NOPULL;
  GPIO_InitStruct.Speed = GPIO_SPEED_FREQ_LOW;
  HAL_GPIO_Init(GPIOG, &GPIO_InitStruct);

  /*Configure GPIO pins : SDCKE1_Pin SDNE1_Pin */
  GPIO_InitStruct.Pin = SDCKE1_Pin|SDNE1_Pin;
  GPIO_InitStruct.Mode = GPIO_MODE_AF_PP;
  GPIO_InitStruct.Pull = GPIO_NOPULL;
  GPIO_InitStruct.Speed = GPIO_SPEED_FREQ_VERY_HIGH;
  GPIO_InitStruct.Alternate = GPIO_AF12_FMC;
  HAL_GPIO_Init(GPIOB, &GPIO_InitStruct);

}

void Error_Handler(void)
{
  __disable_irq();
  while (1)
  {
  }
}
